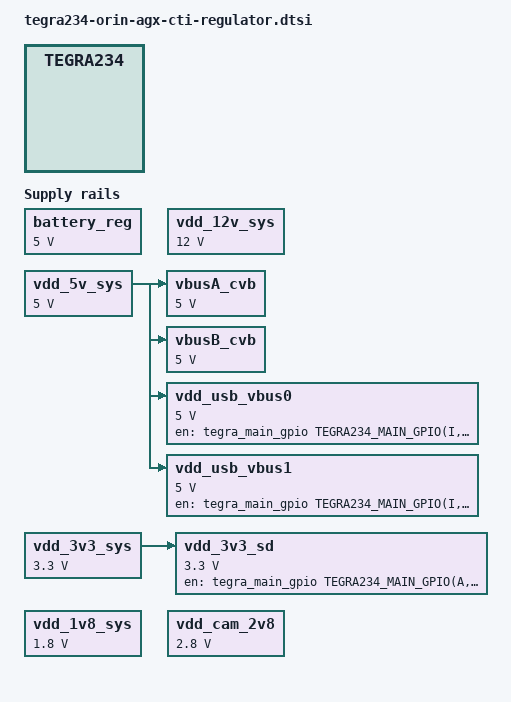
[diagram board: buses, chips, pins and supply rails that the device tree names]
/*
 * Copyright (c) 2022, NVIDIA CORPORATION.  All rights reserved.
 *
 * This program is free software; you can redistribute it and/or modify
 * it under the terms of the GNU General Public License as published by
 * the Free Software Foundation; either version 2 of the License, or
 * (at your option) any later version.
 *
 * This program is distributed in the hope that it will be useful, but WITHOUT
 * ANY WARRANTY; without even the implied warranty of MERCHANTABILITY or
 * FITNESS FOR A PARTICULAR PURPOSE.  See the GNU General Public License for
 * more details.
 */

#include <dt-bindings/gpio/tegra234-gpio.h>
/ {
	fixed-regulators {
		battery_reg: regulator@0 {
			compatible = "regulator-fixed";
			reg = <0>;
			regulator-name = "vdd-ac-bat";
			regulator-min-microvolt = <5000000>;
			regulator-max-microvolt = <5000000>;
			regulator-always-on;
		};
		vdd_12v_sys: regulator@100 {
			compatible = "regulator-fixed";
			reg = <100>;
			regulator-name = "vdd-12v-sys";
			regulator-min-microvolt = <12000000>;
			regulator-max-microvolt = <12000000>;
			regulator-always-on;
		};
		vdd_5v_sys: regulator@101 {
			compatible = "regulator-fixed";
			reg = <101>;
			regulator-name = "vdd-5v-sys";
			regulator-min-microvolt = <5000000>;
			regulator-max-microvolt = <5000000>;
			regulator-always-on;
		};
		vdd_3v3_sys: regulator@102 {
			compatible = "regulator-fixed";
			reg = <102>;
			regulator-name = "vdd-3v3-sys";
			regulator-min-microvolt = <3300000>;
			regulator-max-microvolt = <3300000>;
			regulator-always-on;
		};
		vdd_1v8_sys: regulator@103 {
			compatible = "regulator-fixed";
			reg = <103>;
			regulator-name = "vdd-1v8-sys";
			regulator-min-microvolt = <1800000>;
			regulator-max-microvolt = <1800000>;
			regulator-always-on;
		};
		vdd_cam_2v8: regulator@106 {
			compatible = "regulator-fixed";
			reg = <106>;
			regulator-name = "vdd-cam-2v8";
			regulator-min-microvolt = <2800000>;
			regulator-max-microvolt = <2800000>;
			regulator-always-on;
		};
		vbusA_cvb: regulator@108 {
			compatible = "regulator-fixed";
			reg = <108>;
			regulator-name = "vbusA-cvb";
			regulator-min-microvolt = <5000000>;
			regulator-max-microvolt = <5000000>;
			regulator-always-on;
			vin-supply = <&vdd_5v_sys>;
		};
		vbusB_cvb: regulator@109 {
			compatible = "regulator-fixed";
			reg = <109>;
			regulator-name = "vbusB-cvb";
			regulator-min-microvolt = <5000000>;
			regulator-max-microvolt = <5000000>;
			regulator-always-on;
			vin-supply = <&vdd_5v_sys>;
		};
		vdd_3v3_sd: regulator@111 {
			compatible = "regulator-fixed";
			reg = <111>;
			regulator-name = "vdd-3v3-sd";
			regulator-min-microvolt = <3300000>;
			regulator-max-microvolt = <3300000>;
			vin-supply = <&vdd_3v3_sys>;
			gpio = <&tegra_main_gpio TEGRA234_MAIN_GPIO(A, 0) 0>;
			regulator-always-on; /* keeping always on for bring up */
			enable-active-high;
		};
		vdd_usb_vbus0: regulator@112 {
			compatible = "regulator-fixed";
			reg = <112>;
			regulator-name = "vdd-usb-vbus0";
			regulator-min-microvolt = <5000000>;
			regulator-max-microvolt = <5000000>;
			vin-supply = <&vdd_5v_sys>;
			gpio = <&tegra_main_gpio TEGRA234_MAIN_GPIO(I, 1) 0>;
			enable-active-high;
		};
		vdd_usb_vbus1: regulator@113 {
			compatible = "regulator-fixed";
			reg = <113>;
			regulator-name = "vdd-usb-vbus1";
			regulator-min-microvolt = <5000000>;
			regulator-max-microvolt = <5000000>;
			vin-supply = <&vdd_5v_sys>;
			gpio = <&tegra_main_gpio TEGRA234_MAIN_GPIO(I, 2) 0>;
			enable-active-high;
		};
	};
};
